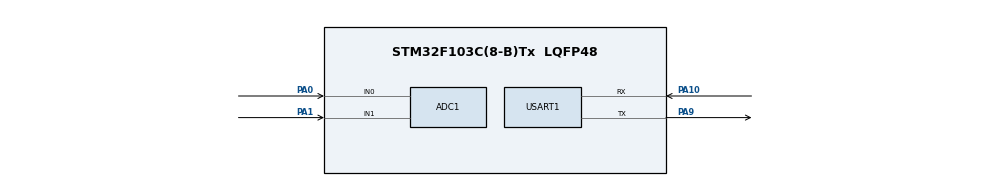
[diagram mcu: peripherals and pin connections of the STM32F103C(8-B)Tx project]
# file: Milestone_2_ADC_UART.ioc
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ADC1.Channel-0\#ChannelRegularConversion=ADC_CHANNEL_0
ADC1.NbrOfConversionFlag=1
ADC1.Rank-0\#ChannelRegularConversion=1
ADC1.SamplingTime-0\#ChannelRegularConversion=ADC_SAMPLETIME_1CYCLE_5
ADC1.master=1
Mcu.Family=STM32F1
Mcu.Name=STM32F103C(8-B)Tx
Mcu.Package=LQFP48
NVIC.PriorityGroup=NVIC_PRIORITYGROUP_4
PA0-WKUP.Signal=ADCx_IN0
PA1.Signal=ADCx_IN1
PA10.Mode=Asynchronous
PA10.Signal=USART1_RX
PA9.Mode=Asynchronous
PA9.Signal=USART1_TX
ProjectManager.HeapSize=0x200
ProjectManager.StackSize=0x400
ProjectManager.TargetToolchain=CMake
RCC.APB1Freq_Value=8000000
RCC.APB2Freq_Value=8000000
SH.ADCx_IN0.0=ADC1_IN0,IN0
SH.ADCx_IN1.0=ADC1_IN1,IN1
USART1.VirtualMode=VM_ASYNC
VP_SYS_VS_ND.Mode=No_Debug
board=custom

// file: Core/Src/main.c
/* USER CODE BEGIN Header */
/**
  ******************************************************************************
  * @file           : main.c
  * @brief          : Main program body
  ******************************************************************************
  * @attention
  *
  * Copyright (c) 2026 STMicroelectronics.
  * All rights reserved.
  *
  * This software is licensed under terms that can be found in the LICENSE file
  * in the root directory of this software component.
  * If no LICENSE file comes with this software, it is provided AS-IS.
  *
  ******************************************************************************
  */
/* USER CODE END Header */
#include "main.h"

/* USER CODE BEGIN Includes */

#include <stdio.h>
#include <string.h>

/* USER CODE END Includes */

ADC_HandleTypeDef hadc1;

UART_HandleTypeDef huart1;

/* USER CODE BEGIN PV */

uint32_t rawTemp;
uint32_t rawThrottle;

uint32_t engineTemp;
uint32_t throttle;

char uartBuffer[100];

/* USER CODE END PV */

void SystemClock_Config(void);
static void MX_GPIO_Init(void);
static void MX_ADC1_Init(void);
static void MX_USART1_UART_Init(void);

/* USER CODE BEGIN 0 */

uint32_t Read_ADC_Channel(uint32_t channel)
{
    ADC_ChannelConfTypeDef sConfig = {0};

    sConfig.Channel = channel;
    sConfig.Rank = ADC_REGULAR_RANK_1;
    sConfig.SamplingTime = ADC_SAMPLETIME_55CYCLES_5;

    HAL_ADC_ConfigChannel(&hadc1, &sConfig);

    HAL_ADC_Start(&hadc1);

    HAL_ADC_PollForConversion(&hadc1, 100);

    uint32_t adcValue = HAL_ADC_GetValue(&hadc1);

    HAL_ADC_Stop(&hadc1);

    return adcValue;
}

/* USER CODE END 0 */

int main(void)
{

  /* MCU Configuration--------------------------------------------------------*/

  /* Reset of all peripherals, Initializes the Flash interface and the Systick. */
  HAL_Init();

  /* Configure the system clock */
  SystemClock_Config();

  /* Initialize all configured peripherals */
  MX_GPIO_Init();
  MX_ADC1_Init();
  MX_USART1_UART_Init();

  /* Infinite loop */
  while (1)
  {
    rawTemp = Read_ADC_Channel(ADC_CHANNEL_0);
    rawThrottle = Read_ADC_Channel(ADC_CHANNEL_1);

    engineTemp = (rawTemp * 150) / 4095;
    throttle = (rawThrottle * 100) / 4095;

    int len = snprintf(
        uartBuffer,
        sizeof(uartBuffer),
        "Engine Temp = %lu C | Throttle = %lu %%\r\n",
        engineTemp,
        throttle
    );

    HAL_UART_Transmit(
        &huart1,
        (uint8_t *)uartBuffer,
        len,
        100
    );

    HAL_Delay(500);
  }
}

void SystemClock_Config(void)
{
  RCC_OscInitTypeDef RCC_OscInitStruct = {0};
  RCC_ClkInitTypeDef RCC_ClkInitStruct = {0};
  RCC_PeriphCLKInitTypeDef PeriphClkInit = {0};

  /** Initializes the RCC Oscillators according to the specified parameters
  * in the RCC_OscInitTypeDef structure.
  */
  RCC_OscInitStruct.OscillatorType = RCC_OSCILLATORTYPE_HSI;
  RCC_OscInitStruct.HSIState = RCC_HSI_ON;
  RCC_OscInitStruct.HSICalibrationValue = RCC_HSICALIBRATION_DEFAULT;
  RCC_OscInitStruct.PLL.PLLState = RCC_PLL_NONE;
  if (HAL_RCC_OscConfig(&RCC_OscInitStruct) != HAL_OK)
  {
    Error_Handler();
  }

  /** Initializes the CPU, AHB and APB buses clocks
  */
  RCC_ClkInitStruct.ClockType = RCC_CLOCKTYPE_HCLK|RCC_CLOCKTYPE_SYSCLK
                              |RCC_CLOCKTYPE_PCLK1|RCC_CLOCKTYPE_PCLK2;
  RCC_ClkInitStruct.SYSCLKSource = RCC_SYSCLKSOURCE_HSI;
  RCC_ClkInitStruct.AHBCLKDivider = RCC_SYSCLK_DIV1;
  RCC_ClkInitStruct.APB1CLKDivider = RCC_HCLK_DIV1;
  RCC_ClkInitStruct.APB2CLKDivider = RCC_HCLK_DIV1;

  if (HAL_RCC_ClockConfig(&RCC_ClkInitStruct, FLASH_LATENCY_0) != HAL_OK)
  {
    Error_Handler();
  }
  PeriphClkInit.PeriphClockSelection = RCC_PERIPHCLK_ADC;
  PeriphClkInit.AdcClockSelection = RCC_ADCPCLK2_DIV2;
  if (HAL_RCCEx_PeriphCLKConfig(&PeriphClkInit) != HAL_OK)
  {
    Error_Handler();
  }
}

static void MX_ADC1_Init(void)
{

  ADC_ChannelConfTypeDef sConfig = {0};

  /** Common config
  */
  hadc1.Instance = ADC1;
  hadc1.Init.ScanConvMode = ADC_SCAN_DISABLE;
  hadc1.Init.ContinuousConvMode = DISABLE;
  hadc1.Init.DiscontinuousConvMode = DISABLE;
  hadc1.Init.ExternalTrigConv = ADC_SOFTWARE_START;
  hadc1.Init.DataAlign = ADC_DATAALIGN_RIGHT;
  hadc1.Init.NbrOfConversion = 1;
  if (HAL_ADC_Init(&hadc1) != HAL_OK)
  {
    Error_Handler();
  }

  /** Configure Regular Channel
  */
  sConfig.Channel = ADC_CHANNEL_0;
  sConfig.Rank = ADC_REGULAR_RANK_1;
  sConfig.SamplingTime = ADC_SAMPLETIME_1CYCLE_5;
  if (HAL_ADC_ConfigChannel(&hadc1, &sConfig) != HAL_OK)
  {
    Error_Handler();
  }

}

static void MX_USART1_UART_Init(void)
{

  huart1.Instance = USART1;
  huart1.Init.BaudRate = 115200;
  huart1.Init.WordLength = UART_WORDLENGTH_8B;
  huart1.Init.StopBits = UART_STOPBITS_1;
  huart1.Init.Parity = UART_PARITY_NONE;
  huart1.Init.Mode = UART_MODE_TX_RX;
  huart1.Init.HwFlowCtl = UART_HWCONTROL_NONE;
  huart1.Init.OverSampling = UART_OVERSAMPLING_16;
  if (HAL_UART_Init(&huart1) != HAL_OK)
  {
    Error_Handler();
  }

}

static void MX_GPIO_Init(void)
{

  /* GPIO Ports Clock Enable */
  __HAL_RCC_GPIOA_CLK_ENABLE();

}

void Error_Handler(void)
{
  __disable_irq();
  while (1)
  {
  }
}
